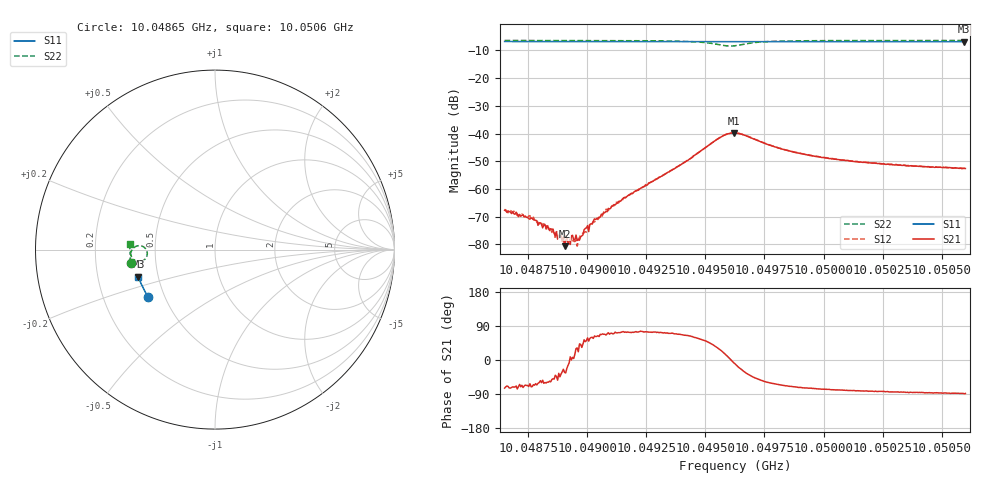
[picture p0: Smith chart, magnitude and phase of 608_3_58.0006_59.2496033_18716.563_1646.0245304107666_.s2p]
#  HZ  S  RI  R  50.00
! Rohde & Schwarz Vector Network Analyzer
! Rohde-Schwarz,ZNB20-2Port,1311601062101988,3.16
! Created: UTC 3/21/2024, 1:17:37 AM
! freq[Hz]  re:S11  im:S11  re:S21  im:S21  re:S12  im:S12  re:S22  im:S22
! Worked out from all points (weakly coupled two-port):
!   401 points, 10.04865 GHz to 10.0506 GHz, reference 50 ohm
!   highest |S21| = -39.78 dB at 10.04962 GHz (marker M1); lowest = -80.6 dB at 10.0489 GHz (marker M2)
!   lowest |S11| = -6.9 dB at 10.0506 GHz (marker M3), VSWR 2.65, Z = 19.3 - j7.31 ohm
!   |S11| at or under -10 dB: nowhere
!   |S22| runs from -8.5 to -6.4 dB; largest |S21 - S12| = 0.00081
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1.0048651e10  -0.3713 -0.2644  0.000113 -0.000397  0.000183 -0.000387  -0.4707 -0.0751
1.0048773e10  -0.3754 -0.2576  0.000118 -0.000254  0.000151 -0.000272  -0.4717 -0.0661
1.0048846e10  -0.3782 -0.2536  0.000104 -0.000162  0.000123 -0.000147  -0.4721 -0.0602
1.004887e10  -0.379 -0.2521  0.000122 -0.000115  0.000134 -0.000106  -0.4721 -0.0582
1.0048904e10  -0.3803 -0.2503  7.87e-05 -4.98e-05  0.000114 -5.9e-05  -0.4724 -0.0556
1.0048919e10  -0.3808 -0.2495  0.000106 -2.73e-05  0.000124 -3.65e-05  -0.4724 -0.0543
1.0048943e10  -0.3817 -0.248  0.00012 8.13e-06  0.000104 4.72e-05  -0.4726 -0.0522
1.0048953e10  -0.3819 -0.2475  0.000128 7.44e-05  0.000102 6.1e-05  -0.4725 -0.0515
1.0048977e10  -0.3828 -0.2462  0.00012 7.82e-05  9.9e-05 0.000117  -0.4724 -0.0492
1.0048992e10  -0.3832 -0.2453  0.000129 0.000145  9.68e-05 0.00014  -0.4726 -0.048
1.0049021e10  -0.3841 -0.2436  0.000117 0.000203  9.93e-05 0.000213  -0.4726 -0.0455
1.0049099e10  -0.3869 -0.2392  0.00015 0.000421  0.000139 0.00043  -0.4724 -0.0381
1.0049304e10  -0.3933 -0.2274  0.000504 0.00156  0.000385 0.00156  -0.4683 -0.0148
1.0049435e10  -0.3975 -0.2196  0.00157 0.00313  0.00141 0.0032  -0.4556 0.00761
1.0049562e10  -0.4005 -0.2118  0.00755 0.00388  0.0073 0.00432  -0.3973 0.0147
1.0049621e10  -0.4018 -0.2089  0.0102 -0.00132  0.0102 -0.000585  -0.379 -0.0346
1.0049625e10  -0.4019 -0.2088  0.0101 -0.0018  0.0102 -0.0011  -0.3806 -0.0392
1.0049815e10  -0.4079 -0.1979  0.00224 -0.00491  0.00251 -0.00481  -0.4614 -0.0464
1.0049952e10  -0.4117 -0.1898  0.00103 -0.00383  0.00124 -0.00377  -0.4711 -0.0256
1.0050278e10  -0.4199 -0.1698  0.000264 -0.00274  0.000463 -0.00275  -0.4754 0.00745
1.0050595e10  -0.4267 -0.1503  3.89e-05 -0.00236  0.000212 -0.00234  -0.4747 0.0322
1.00506e10  -0.4269 -0.1499  6.85e-05 -0.00234  0.000201 -0.00233  -0.4747 0.0326
